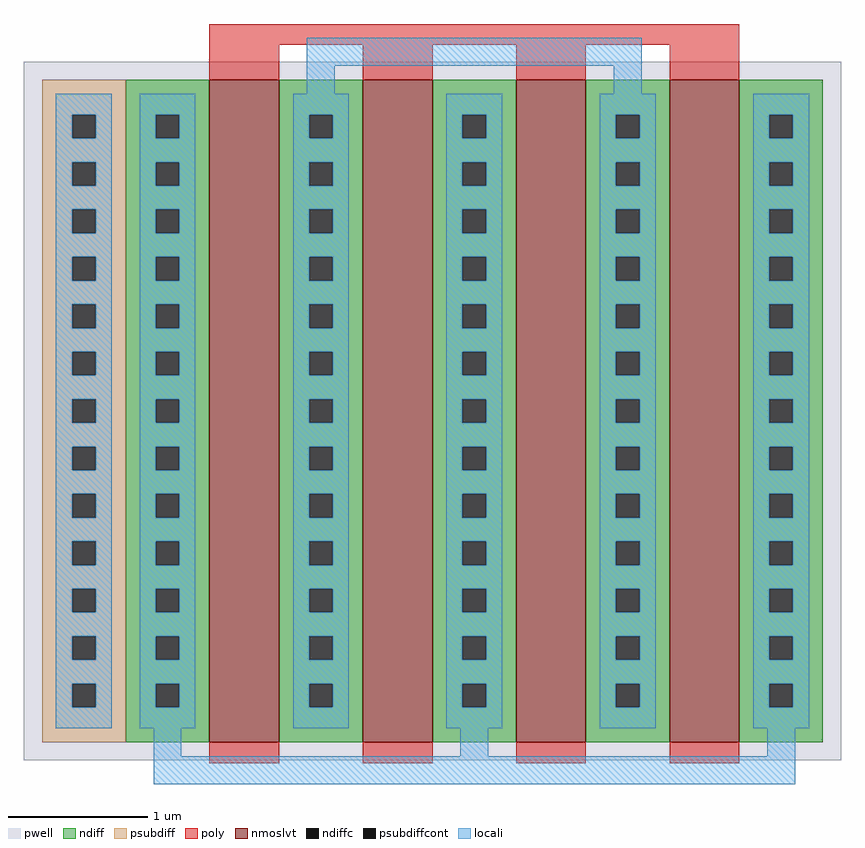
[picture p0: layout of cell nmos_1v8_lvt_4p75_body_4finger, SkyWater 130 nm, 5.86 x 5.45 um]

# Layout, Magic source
magic
tech sky130A
magscale 1 2
<< pwell >>
rect -2136 -6 -964 996
<< nmoslvt >>
rect -1870 20 -1770 970
rect -1650 20 -1550 970
rect -1430 20 -1330 970
rect -1210 20 -1110 970
<< ndiff >>
rect -1990 920 -1870 970
rect -1990 886 -1947 920
rect -1913 886 -1870 920
rect -1990 852 -1870 886
rect -1990 818 -1947 852
rect -1913 818 -1870 852
rect -1990 784 -1870 818
rect -1990 750 -1947 784
rect -1913 750 -1870 784
rect -1990 716 -1870 750
rect -1990 682 -1947 716
rect -1913 682 -1870 716
rect -1990 648 -1870 682
rect -1990 614 -1947 648
rect -1913 614 -1870 648
rect -1990 580 -1870 614
rect -1990 546 -1947 580
rect -1913 546 -1870 580
rect -1990 512 -1870 546
rect -1990 478 -1947 512
rect -1913 478 -1870 512
rect -1990 444 -1870 478
rect -1990 410 -1947 444
rect -1913 410 -1870 444
rect -1990 376 -1870 410
rect -1990 342 -1947 376
rect -1913 342 -1870 376
rect -1990 308 -1870 342
rect -1990 274 -1947 308
rect -1913 274 -1870 308
rect -1990 240 -1870 274
rect -1990 206 -1947 240
rect -1913 206 -1870 240
rect -1990 172 -1870 206
rect -1990 138 -1947 172
rect -1913 138 -1870 172
rect -1990 104 -1870 138
rect -1990 70 -1947 104
rect -1913 70 -1870 104
rect -1990 20 -1870 70
rect -1770 920 -1650 970
rect -1770 886 -1727 920
rect -1693 886 -1650 920
rect -1770 852 -1650 886
rect -1770 818 -1727 852
rect -1693 818 -1650 852
rect -1770 784 -1650 818
rect -1770 750 -1727 784
rect -1693 750 -1650 784
rect -1770 716 -1650 750
rect -1770 682 -1727 716
rect -1693 682 -1650 716
rect -1770 648 -1650 682
rect -1770 614 -1727 648
rect -1693 614 -1650 648
rect -1770 580 -1650 614
rect -1770 546 -1727 580
rect -1693 546 -1650 580
rect -1770 512 -1650 546
rect -1770 478 -1727 512
rect -1693 478 -1650 512
rect -1770 444 -1650 478
rect -1770 410 -1727 444
rect -1693 410 -1650 444
rect -1770 376 -1650 410
rect -1770 342 -1727 376
rect -1693 342 -1650 376
rect -1770 308 -1650 342
rect -1770 274 -1727 308
rect -1693 274 -1650 308
rect -1770 240 -1650 274
rect -1770 206 -1727 240
rect -1693 206 -1650 240
rect -1770 172 -1650 206
rect -1770 138 -1727 172
rect -1693 138 -1650 172
rect -1770 104 -1650 138
rect -1770 70 -1727 104
rect -1693 70 -1650 104
rect -1770 20 -1650 70
rect -1550 920 -1430 970
rect -1550 886 -1507 920
rect -1473 886 -1430 920
rect -1550 852 -1430 886
rect -1550 818 -1507 852
rect -1473 818 -1430 852
rect -1550 784 -1430 818
rect -1550 750 -1507 784
rect -1473 750 -1430 784
rect -1550 716 -1430 750
rect -1550 682 -1507 716
rect -1473 682 -1430 716
rect -1550 648 -1430 682
rect -1550 614 -1507 648
rect -1473 614 -1430 648
rect -1550 580 -1430 614
rect -1550 546 -1507 580
rect -1473 546 -1430 580
rect -1550 512 -1430 546
rect -1550 478 -1507 512
rect -1473 478 -1430 512
rect -1550 444 -1430 478
rect -1550 410 -1507 444
rect -1473 410 -1430 444
rect -1550 376 -1430 410
rect -1550 342 -1507 376
rect -1473 342 -1430 376
rect -1550 308 -1430 342
rect -1550 274 -1507 308
rect -1473 274 -1430 308
rect -1550 240 -1430 274
rect -1550 206 -1507 240
rect -1473 206 -1430 240
rect -1550 172 -1430 206
rect -1550 138 -1507 172
rect -1473 138 -1430 172
rect -1550 104 -1430 138
rect -1550 70 -1507 104
rect -1473 70 -1430 104
rect -1550 20 -1430 70
rect -1330 920 -1210 970
rect -1330 886 -1287 920
rect -1253 886 -1210 920
rect -1330 852 -1210 886
rect -1330 818 -1287 852
rect -1253 818 -1210 852
rect -1330 784 -1210 818
rect -1330 750 -1287 784
rect -1253 750 -1210 784
rect -1330 716 -1210 750
rect -1330 682 -1287 716
rect -1253 682 -1210 716
rect -1330 648 -1210 682
rect -1330 614 -1287 648
rect -1253 614 -1210 648
rect -1330 580 -1210 614
rect -1330 546 -1287 580
rect -1253 546 -1210 580
rect -1330 512 -1210 546
rect -1330 478 -1287 512
rect -1253 478 -1210 512
rect -1330 444 -1210 478
rect -1330 410 -1287 444
rect -1253 410 -1210 444
rect -1330 376 -1210 410
rect -1330 342 -1287 376
rect -1253 342 -1210 376
rect -1330 308 -1210 342
rect -1330 274 -1287 308
rect -1253 274 -1210 308
rect -1330 240 -1210 274
rect -1330 206 -1287 240
rect -1253 206 -1210 240
rect -1330 172 -1210 206
rect -1330 138 -1287 172
rect -1253 138 -1210 172
rect -1330 104 -1210 138
rect -1330 70 -1287 104
rect -1253 70 -1210 104
rect -1330 20 -1210 70
rect -1110 920 -990 970
rect -1110 886 -1067 920
rect -1033 886 -990 920
rect -1110 852 -990 886
rect -1110 818 -1067 852
rect -1033 818 -990 852
rect -1110 784 -990 818
rect -1110 750 -1067 784
rect -1033 750 -990 784
rect -1110 716 -990 750
rect -1110 682 -1067 716
rect -1033 682 -990 716
rect -1110 648 -990 682
rect -1110 614 -1067 648
rect -1033 614 -990 648
rect -1110 580 -990 614
rect -1110 546 -1067 580
rect -1033 546 -990 580
rect -1110 512 -990 546
rect -1110 478 -1067 512
rect -1033 478 -990 512
rect -1110 444 -990 478
rect -1110 410 -1067 444
rect -1033 410 -990 444
rect -1110 376 -990 410
rect -1110 342 -1067 376
rect -1033 342 -990 376
rect -1110 308 -990 342
rect -1110 274 -1067 308
rect -1033 274 -990 308
rect -1110 240 -990 274
rect -1110 206 -1067 240
rect -1033 206 -990 240
rect -1110 172 -990 206
rect -1110 138 -1067 172
rect -1033 138 -990 172
rect -1110 104 -990 138
rect -1110 70 -1067 104
rect -1033 70 -990 104
rect -1110 20 -990 70
<< ndiffc >>
rect -1947 886 -1913 920
rect -1947 818 -1913 852
rect -1947 750 -1913 784
rect -1947 682 -1913 716
rect -1947 614 -1913 648
rect -1947 546 -1913 580
rect -1947 478 -1913 512
rect -1947 410 -1913 444
rect -1947 342 -1913 376
rect -1947 274 -1913 308
rect -1947 206 -1913 240
rect -1947 138 -1913 172
rect -1947 70 -1913 104
rect -1727 886 -1693 920
rect -1727 818 -1693 852
rect -1727 750 -1693 784
rect -1727 682 -1693 716
rect -1727 614 -1693 648
rect -1727 546 -1693 580
rect -1727 478 -1693 512
rect -1727 410 -1693 444
rect -1727 342 -1693 376
rect -1727 274 -1693 308
rect -1727 206 -1693 240
rect -1727 138 -1693 172
rect -1727 70 -1693 104
rect -1507 886 -1473 920
rect -1507 818 -1473 852
rect -1507 750 -1473 784
rect -1507 682 -1473 716
rect -1507 614 -1473 648
rect -1507 546 -1473 580
rect -1507 478 -1473 512
rect -1507 410 -1473 444
rect -1507 342 -1473 376
rect -1507 274 -1473 308
rect -1507 206 -1473 240
rect -1507 138 -1473 172
rect -1507 70 -1473 104
rect -1287 886 -1253 920
rect -1287 818 -1253 852
rect -1287 750 -1253 784
rect -1287 682 -1253 716
rect -1287 614 -1253 648
rect -1287 546 -1253 580
rect -1287 478 -1253 512
rect -1287 410 -1253 444
rect -1287 342 -1253 376
rect -1287 274 -1253 308
rect -1287 206 -1253 240
rect -1287 138 -1253 172
rect -1287 70 -1253 104
rect -1067 886 -1033 920
rect -1067 818 -1033 852
rect -1067 750 -1033 784
rect -1067 682 -1033 716
rect -1067 614 -1033 648
rect -1067 546 -1033 580
rect -1067 478 -1033 512
rect -1067 410 -1033 444
rect -1067 342 -1033 376
rect -1067 274 -1033 308
rect -1067 206 -1033 240
rect -1067 138 -1033 172
rect -1067 70 -1033 104
<< psubdiff >>
rect -2110 920 -1990 970
rect -2110 886 -2067 920
rect -2033 886 -1990 920
rect -2110 852 -1990 886
rect -2110 818 -2067 852
rect -2033 818 -1990 852
rect -2110 784 -1990 818
rect -2110 750 -2067 784
rect -2033 750 -1990 784
rect -2110 716 -1990 750
rect -2110 682 -2067 716
rect -2033 682 -1990 716
rect -2110 648 -1990 682
rect -2110 614 -2067 648
rect -2033 614 -1990 648
rect -2110 580 -1990 614
rect -2110 546 -2067 580
rect -2033 546 -1990 580
rect -2110 512 -1990 546
rect -2110 478 -2067 512
rect -2033 478 -1990 512
rect -2110 444 -1990 478
rect -2110 410 -2067 444
rect -2033 410 -1990 444
rect -2110 376 -1990 410
rect -2110 342 -2067 376
rect -2033 342 -1990 376
rect -2110 308 -1990 342
rect -2110 274 -2067 308
rect -2033 274 -1990 308
rect -2110 240 -1990 274
rect -2110 206 -2067 240
rect -2033 206 -1990 240
rect -2110 172 -1990 206
rect -2110 138 -2067 172
rect -2033 138 -1990 172
rect -2110 104 -1990 138
rect -2110 70 -2067 104
rect -2033 70 -1990 104
rect -2110 20 -1990 70
<< psubdiffcont >>
rect -2067 886 -2033 920
rect -2067 818 -2033 852
rect -2067 750 -2033 784
rect -2067 682 -2033 716
rect -2067 614 -2033 648
rect -2067 546 -2033 580
rect -2067 478 -2033 512
rect -2067 410 -2033 444
rect -2067 342 -2033 376
rect -2067 274 -2033 308
rect -2067 206 -2033 240
rect -2067 138 -2033 172
rect -2067 70 -2033 104
<< poly >>
rect -1870 1020 -1110 1050
rect -1870 970 -1770 1020
rect -1650 970 -1550 1020
rect -1430 970 -1330 1020
rect -1210 970 -1110 1020
rect -1870 -10 -1770 20
rect -1650 -10 -1550 20
rect -1430 -10 -1330 20
rect -1210 -10 -1110 20
<< locali >>
rect -1730 990 -1250 1030
rect -1730 950 -1690 990
rect -1290 950 -1250 990
rect -2090 920 -2010 950
rect -2090 886 -2067 920
rect -2033 886 -2010 920
rect -2090 852 -2010 886
rect -2090 818 -2067 852
rect -2033 818 -2010 852
rect -2090 784 -2010 818
rect -2090 750 -2067 784
rect -2033 750 -2010 784
rect -2090 716 -2010 750
rect -2090 682 -2067 716
rect -2033 682 -2010 716
rect -2090 648 -2010 682
rect -2090 614 -2067 648
rect -2033 614 -2010 648
rect -2090 580 -2010 614
rect -2090 546 -2067 580
rect -2033 546 -2010 580
rect -2090 512 -2010 546
rect -2090 478 -2067 512
rect -2033 478 -2010 512
rect -2090 444 -2010 478
rect -2090 410 -2067 444
rect -2033 410 -2010 444
rect -2090 376 -2010 410
rect -2090 342 -2067 376
rect -2033 342 -2010 376
rect -2090 308 -2010 342
rect -2090 274 -2067 308
rect -2033 274 -2010 308
rect -2090 240 -2010 274
rect -2090 206 -2067 240
rect -2033 206 -2010 240
rect -2090 172 -2010 206
rect -2090 138 -2067 172
rect -2033 138 -2010 172
rect -2090 104 -2010 138
rect -2090 70 -2067 104
rect -2033 70 -2010 104
rect -2090 40 -2010 70
rect -1970 920 -1890 950
rect -1970 886 -1947 920
rect -1913 886 -1890 920
rect -1970 852 -1890 886
rect -1970 818 -1947 852
rect -1913 818 -1890 852
rect -1970 784 -1890 818
rect -1970 750 -1947 784
rect -1913 750 -1890 784
rect -1970 716 -1890 750
rect -1970 682 -1947 716
rect -1913 682 -1890 716
rect -1970 648 -1890 682
rect -1970 614 -1947 648
rect -1913 614 -1890 648
rect -1970 580 -1890 614
rect -1970 546 -1947 580
rect -1913 546 -1890 580
rect -1970 512 -1890 546
rect -1970 478 -1947 512
rect -1913 478 -1890 512
rect -1970 444 -1890 478
rect -1970 410 -1947 444
rect -1913 410 -1890 444
rect -1970 376 -1890 410
rect -1970 342 -1947 376
rect -1913 342 -1890 376
rect -1970 308 -1890 342
rect -1970 274 -1947 308
rect -1913 274 -1890 308
rect -1970 240 -1890 274
rect -1970 206 -1947 240
rect -1913 206 -1890 240
rect -1970 172 -1890 206
rect -1970 138 -1947 172
rect -1913 138 -1890 172
rect -1970 104 -1890 138
rect -1970 70 -1947 104
rect -1913 70 -1890 104
rect -1970 40 -1890 70
rect -1750 920 -1670 950
rect -1750 886 -1727 920
rect -1693 886 -1670 920
rect -1750 852 -1670 886
rect -1750 818 -1727 852
rect -1693 818 -1670 852
rect -1750 784 -1670 818
rect -1750 750 -1727 784
rect -1693 750 -1670 784
rect -1750 716 -1670 750
rect -1750 682 -1727 716
rect -1693 682 -1670 716
rect -1750 648 -1670 682
rect -1750 614 -1727 648
rect -1693 614 -1670 648
rect -1750 580 -1670 614
rect -1750 546 -1727 580
rect -1693 546 -1670 580
rect -1750 512 -1670 546
rect -1750 478 -1727 512
rect -1693 478 -1670 512
rect -1750 444 -1670 478
rect -1750 410 -1727 444
rect -1693 410 -1670 444
rect -1750 376 -1670 410
rect -1750 342 -1727 376
rect -1693 342 -1670 376
rect -1750 308 -1670 342
rect -1750 274 -1727 308
rect -1693 274 -1670 308
rect -1750 240 -1670 274
rect -1750 206 -1727 240
rect -1693 206 -1670 240
rect -1750 172 -1670 206
rect -1750 138 -1727 172
rect -1693 138 -1670 172
rect -1750 104 -1670 138
rect -1750 70 -1727 104
rect -1693 70 -1670 104
rect -1750 40 -1670 70
rect -1530 920 -1450 950
rect -1530 886 -1507 920
rect -1473 886 -1450 920
rect -1530 852 -1450 886
rect -1530 818 -1507 852
rect -1473 818 -1450 852
rect -1530 784 -1450 818
rect -1530 750 -1507 784
rect -1473 750 -1450 784
rect -1530 716 -1450 750
rect -1530 682 -1507 716
rect -1473 682 -1450 716
rect -1530 648 -1450 682
rect -1530 614 -1507 648
rect -1473 614 -1450 648
rect -1530 580 -1450 614
rect -1530 546 -1507 580
rect -1473 546 -1450 580
rect -1530 512 -1450 546
rect -1530 478 -1507 512
rect -1473 478 -1450 512
rect -1530 444 -1450 478
rect -1530 410 -1507 444
rect -1473 410 -1450 444
rect -1530 376 -1450 410
rect -1530 342 -1507 376
rect -1473 342 -1450 376
rect -1530 308 -1450 342
rect -1530 274 -1507 308
rect -1473 274 -1450 308
rect -1530 240 -1450 274
rect -1530 206 -1507 240
rect -1473 206 -1450 240
rect -1530 172 -1450 206
rect -1530 138 -1507 172
rect -1473 138 -1450 172
rect -1530 104 -1450 138
rect -1530 70 -1507 104
rect -1473 70 -1450 104
rect -1530 40 -1450 70
rect -1310 920 -1230 950
rect -1310 886 -1287 920
rect -1253 886 -1230 920
rect -1310 852 -1230 886
rect -1310 818 -1287 852
rect -1253 818 -1230 852
rect -1310 784 -1230 818
rect -1310 750 -1287 784
rect -1253 750 -1230 784
rect -1310 716 -1230 750
rect -1310 682 -1287 716
rect -1253 682 -1230 716
rect -1310 648 -1230 682
rect -1310 614 -1287 648
rect -1253 614 -1230 648
rect -1310 580 -1230 614
rect -1310 546 -1287 580
rect -1253 546 -1230 580
rect -1310 512 -1230 546
rect -1310 478 -1287 512
rect -1253 478 -1230 512
rect -1310 444 -1230 478
rect -1310 410 -1287 444
rect -1253 410 -1230 444
rect -1310 376 -1230 410
rect -1310 342 -1287 376
rect -1253 342 -1230 376
rect -1310 308 -1230 342
rect -1310 274 -1287 308
rect -1253 274 -1230 308
rect -1310 240 -1230 274
rect -1310 206 -1287 240
rect -1253 206 -1230 240
rect -1310 172 -1230 206
rect -1310 138 -1287 172
rect -1253 138 -1230 172
rect -1310 104 -1230 138
rect -1310 70 -1287 104
rect -1253 70 -1230 104
rect -1310 40 -1230 70
rect -1090 920 -1010 950
rect -1090 886 -1067 920
rect -1033 886 -1010 920
rect -1090 852 -1010 886
rect -1090 818 -1067 852
rect -1033 818 -1010 852
rect -1090 784 -1010 818
rect -1090 750 -1067 784
rect -1033 750 -1010 784
rect -1090 716 -1010 750
rect -1090 682 -1067 716
rect -1033 682 -1010 716
rect -1090 648 -1010 682
rect -1090 614 -1067 648
rect -1033 614 -1010 648
rect -1090 580 -1010 614
rect -1090 546 -1067 580
rect -1033 546 -1010 580
rect -1090 512 -1010 546
rect -1090 478 -1067 512
rect -1033 478 -1010 512
rect -1090 444 -1010 478
rect -1090 410 -1067 444
rect -1033 410 -1010 444
rect -1090 376 -1010 410
rect -1090 342 -1067 376
rect -1033 342 -1010 376
rect -1090 308 -1010 342
rect -1090 274 -1067 308
rect -1033 274 -1010 308
rect -1090 240 -1010 274
rect -1090 206 -1067 240
rect -1033 206 -1010 240
rect -1090 172 -1010 206
rect -1090 138 -1067 172
rect -1033 138 -1010 172
rect -1090 104 -1010 138
rect -1090 70 -1067 104
rect -1033 70 -1010 104
rect -1090 40 -1010 70
rect -1950 0 -1910 40
rect -1510 0 -1470 40
rect -1070 0 -1030 40
rect -1950 -40 -1030 0
<< end >>
